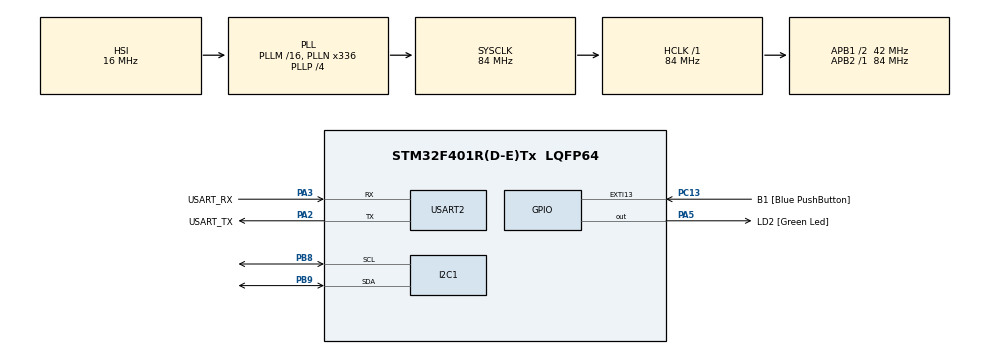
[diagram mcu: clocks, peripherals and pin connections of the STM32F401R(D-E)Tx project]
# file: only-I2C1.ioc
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Mcu.Family=STM32F4
Mcu.Name=STM32F401R(D-E)Tx
Mcu.Package=LQFP64
NVIC.PriorityGroup=NVIC_PRIORITYGROUP_0
PA13.GPIO_Label=TMS
PA13.Mode=Serial_Wire
PA13.Signal=SYS_JTMS-SWDIO
PA14.GPIO_Label=TCK
PA14.Mode=Serial_Wire
PA14.Signal=SYS_JTCK-SWCLK
PA2.GPIO_Label=USART_TX
PA2.GPIO_Mode=GPIO_MODE_AF_PP
PA2.GPIO_PuPd=GPIO_NOPULL
PA2.GPIO_Speed=GPIO_SPEED_FREQ_LOW
PA2.Mode=Asynchronous
PA2.Signal=USART2_TX
PA3.GPIO_Label=USART_RX
PA3.GPIO_Mode=GPIO_MODE_AF_PP
PA3.GPIO_PuPd=GPIO_NOPULL
PA3.GPIO_Speed=GPIO_SPEED_FREQ_LOW
PA3.Mode=Asynchronous
PA3.Signal=USART2_RX
PA5.GPIO_Label=LD2 [Green Led]
PA5.GPIO_Mode=GPIO_MODE_OUTPUT_PP
PA5.GPIO_PuPd=GPIO_NOPULL
PA5.GPIO_Speed=GPIO_SPEED_FREQ_LOW
PA5.Signal=GPIO_Output
PB3.GPIO_Label=SWO
PB3.Signal=SYS_JTDO-SWO
PB8.Mode=I2C
PB8.Signal=I2C1_SCL
PB9.Mode=I2C
PB9.Signal=I2C1_SDA
PC13-ANTI_TAMP.GPIO_Label=B1 [Blue PushButton]
PC13-ANTI_TAMP.GPIO_ModeDefaultEXTI=GPIO_MODE_IT_FALLING
PC13-ANTI_TAMP.GPIO_PuPd=GPIO_NOPULL
PC13-ANTI_TAMP.Signal=GPXTI13
PC14-OSC32_IN.Mode=LSE-External-Oscillator
PC14-OSC32_IN.Signal=RCC_OSC32_IN
PC15-OSC32_OUT.Mode=LSE-External-Oscillator
PC15-OSC32_OUT.Signal=RCC_OSC32_OUT
PH0\ -\ OSC_IN.Mode=HSE-External-Clock-Source
PH0\ -\ OSC_IN.Signal=RCC_OSC_IN
PH1\ -\ OSC_OUT.Mode=HSE-External-Clock-Source
PH1\ -\ OSC_OUT.Signal=RCC_OSC_OUT
ProjectManager.HeapSize=0x200
ProjectManager.StackSize=0x400
ProjectManager.TargetToolchain=STM32CubeIDE
RCC.48MHZClocksFreq_Value=48000000
RCC.AHBFreq_Value=84000000
RCC.APB1CLKDivider=RCC_HCLK_DIV2
RCC.APB1Freq_Value=42000000
RCC.APB1TimFreq_Value=84000000
RCC.APB2Freq_Value=84000000
RCC.APB2TimFreq_Value=84000000
RCC.CortexFreq_Value=84000000
RCC.HCLKFreq_Value=84000000
RCC.HSE_VALUE=8000000
RCC.HSI_VALUE=16000000
RCC.PLLN=336
RCC.PLLP=RCC_PLLP_DIV4
RCC.PLLQ=7
RCC.SYSCLKFreq_VALUE=84000000
RCC.SYSCLKSource=RCC_SYSCLKSOURCE_PLLCLK
RCC.VCOOutputFreq_Value=336000000
USART2.VirtualMode=VM_ASYNC
board=NUCLEO-F401RE

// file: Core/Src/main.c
/* USER CODE BEGIN Header */
/**
  ******************************************************************************
  * @file           : main.c
  * @brief          : Main program body
  ******************************************************************************
  * @attention
  *
  * Copyright (c) 2024 STMicroelectronics.
  * All rights reserved.
  *
  * This software is licensed under terms that can be found in the LICENSE file
  * in the root directory of this software component.
  * If no LICENSE file comes with this software, it is provided AS-IS.
  *
  ******************************************************************************
  */
/* USER CODE END Header */
#include "main.h"

/* USER CODE BEGIN PD */
#define MPU6050_ADDR1 (0x68 << 1)
#define MPU6050_ADDR2 (0x69 << 1)

#define FS_GYRO_250 0
#define FS_GYRO_500 8

#define FS_ACC_2G 0
#define FS_ACC_4G 8

// Other registers
#define REG_CONFIG_GYRO 27
#define REG_CONFIG_ACC 28
#define REG_USR_CTRL 107 // 0x6B is PWR_MGMT_1 register
#define REG_DATA 59

// ACCEL registers
#define ACCEL_XOUT_H 0x3B
#define ACCEL_XOUT_L 0x3C

#define ACCEL_YOUT_H 0x3D
#define ACCEL_YOUT_L 0x3E

#define ACCEL_ZOUT_H 0x3F
#define ACCEL_ZOUT_L 0x40
/* USER CODE END PD */

I2C_HandleTypeDef hi2c1;

UART_HandleTypeDef huart2;

void SystemClock_Config(void);
static void MX_GPIO_Init(void);
static void MX_USART2_UART_Init(void);
static void MX_I2C1_Init(void);

/* USER CODE BEGIN 0 */

// Global variables for STM32cubeMonitor
HAL_StatusTypeDef ret;
uint8_t ret_ready = 10;
uint8_t ret_accel = 20;
uint8_t ret_exit_sleep = 20;

uint8_t alarm_status1 = 0;
uint8_t alarm_status2 = 0;

int16_t AccelX1, AccelY1, AccelZ1;
float AccelX1_g, AccelY1_g, AccelZ1_g;
int16_t AccelX2, AccelY2, AccelZ2;
float AccelX2_g, AccelY2_g, AccelZ2_g;

// Define the structure globally or before you use it
struct CalibrationData {
    float AccelX;
    float AccelY;
    float AccelZ;
};

// Initialize MPU
void MPU6050_Init(MPU6050_ADDR) {
  ret = HAL_I2C_IsDeviceReady(&hi2c1, MPU6050_ADDR, 1, 100);

  if (ret == HAL_OK) {
    ret_ready = 10;
  } else if (ret == HAL_ERROR) {
    ret_ready = 11;
    I2C_Bus_Recovery();
  } else if (ret == HAL_BUSY) {
    ret_ready = 12;
    I2C_Bus_Recovery();
  } else {
    ret_ready = 13;
    I2C_Bus_Recovery();
  }

  uint8_t temp_data = FS_ACC_4G;
  ret = HAL_I2C_Mem_Write(&hi2c1, MPU6050_ADDR, REG_CONFIG_ACC, 1, &temp_data, 1, HAL_MAX_DELAY);

  if (ret == HAL_OK) {
    ret_accel = 20;
  } else if (ret == HAL_ERROR) {
    ret_accel = 21;
    I2C_Bus_Recovery();
  } else if (ret == HAL_BUSY) {
    ret_accel = 22;
    I2C_Bus_Recovery();
  } else {
    ret_accel = 23;
    I2C_Bus_Recovery();
  }

  // Exit sleep by writing 0x00 to PWR_MGMT_1 register 0x6B
  uint8_t data = 0;
  ret = HAL_I2C_Mem_Write(&hi2c1, MPU6050_ADDR, REG_USR_CTRL, 1, &data, 1, HAL_MAX_DELAY);

  if (ret == HAL_OK) {
    ret_exit_sleep = 30;
  } else if (ret == HAL_ERROR) {
    ret_exit_sleep = 31;
  } else if (ret == HAL_BUSY) {
    ret_exit_sleep = 32;
  } else {
    ret_exit_sleep = 33;
  }
}

// Resolve HAL_BUSY error
void I2C_Bus_Recovery() {
  GPIO_InitTypeDef GPIO_InitStruct = {0};

  // Reconfigure SCL and SDA as GPIO
  __HAL_RCC_GPIOB_CLK_ENABLE(); // Enable GPIO clock (adjust based on your pin)
  GPIO_InitStruct.Pin = GPIO_PIN_8 | GPIO_PIN_9; // Replace with your I2C pins
  GPIO_InitStruct.Mode = GPIO_MODE_OUTPUT_PP;
  GPIO_InitStruct.Pull = GPIO_NOPULL;
  GPIO_InitStruct.Speed = GPIO_SPEED_FREQ_HIGH;
  HAL_GPIO_Init(GPIOB, &GPIO_InitStruct);

  // Manually clock SCL line
  for (int i = 0; i < 21; i++) {
    HAL_GPIO_WritePin(GPIOB, GPIO_PIN_8, GPIO_PIN_SET); // SCL High
    HAL_Delay(20); // Short delay
    HAL_GPIO_WritePin(GPIOB, GPIO_PIN_8, GPIO_PIN_RESET); // SCL Low
    HAL_Delay(20);
  }

  // Reinitialize I2C
  HAL_I2C_DeInit(&hi2c1);
  HAL_I2C_Init(&hi2c1);
}

void MPU6050_Read_Accel(uint8_t MPU6050_ADDR, int16_t *AccelX, int16_t *AccelY, int16_t *AccelZ) {
  uint8_t buffer[6]; // Buffer to store the raw data (6 bytes for X, Y, Z)

  // Read 6 bytes starting from ACCEL_XOUT_H (0x3B)
  if (HAL_I2C_Mem_Read(&hi2c1, MPU6050_ADDR, ACCEL_XOUT_H, I2C_MEMADD_SIZE_8BIT, buffer, 6, HAL_MAX_DELAY) == HAL_OK) {
    // Combine high and low bytes for each axis
    *AccelX = (int16_t)(buffer[0] << 8 | buffer[1]); // X-axis
    *AccelY = (int16_t)(buffer[2] << 8 | buffer[3]); // Y-axis
    *AccelZ = (int16_t)(buffer[4] << 8 | buffer[5]); // Z-axis
  } else {
    // If reading fails, set default values or handle error
    I2C_Bus_Recovery();
    *AccelX = 0;
    *AccelY = 0;
    *AccelZ = 0;

  }
}

float MPU6050_Convert_to_g(int16_t raw_value) {
  return (float)raw_value / 16384.0;  // Assuming default ±2g sensitivity
}

struct CalibrationData MPU6050_Calibration(uint16_t dev_addr) {
  float AccelX_g = 0, AccelY_g = 0, AccelZ_g = 0;
  float AccelX_g_sum = 0, AccelY_g_sum = 0, AccelZ_g_sum = 0;
  int cnt = 0; // cnt should be an integer

  int16_t AccelX = 0, AccelY = 0, AccelZ = 0;

  // Read data 1024 times for calibration
  while (cnt < 1024) {
    // Read raw accelerometer data from the MPU6050 sensor
    MPU6050_Read_Accel(dev_addr, &AccelX, &AccelY, &AccelZ);

    // Convert the raw accelerometer data to 'g' units
    AccelX_g = MPU6050_Convert_to_g(AccelX);
    AccelY_g = MPU6050_Convert_to_g(AccelY);
    AccelZ_g = MPU6050_Convert_to_g(AccelZ);

    // Sum the 'g' values for averaging
    AccelX_g_sum += AccelX_g;
    AccelY_g_sum += AccelY_g;
    AccelZ_g_sum += AccelZ_g;

    cnt++; // increment the counter
  }

  // Average the sums
  AccelX_g_sum /= 1024;
  AccelY_g_sum /= 1024;
  AccelZ_g_sum /= 1024;

  // Create and return the CalibrationData structure
  struct CalibrationData data = {AccelX_g_sum, AccelY_g_sum, AccelZ_g_sum};
  return data; // Return the structure
}

void transmitEarthquake(int8_t n){
  int8_t earthquake[] = {n, };
  HAL_UART_Transmit(&huart2, earthquake, sizeof(earthquake), HAL_MAX_DELAY);
  if (n <= 3) {
    alarm_status1 = n; // Only for debug purposes
  } else {
    alarm_status2 = n; // Only for debug purposes
  }
}
// Test 2: Send "hello world" to master
void test2(UART_HandleTypeDef *uart_handle){
    int8_t hello[12] = "Hello World\n";
    HAL_UART_Transmit(uart_handle, hello, sizeof(hello), HAL_MAX_DELAY);
}

// Test 3: Detect accelerometer data
void test3(uint16_t dev_addr, UART_HandleTypeDef *uart_handle){
    int16_t AccelX, AccelY, AccelZ;
    MPU6050_Read_Accel(dev_addr, &AccelX, &AccelY, &AccelZ);
    int8_t working[1];
    if(AccelX == 0 && AccelY == 0 && AccelZ == 0){
        working[0] = 0;
    } else {
        working[0] = 1;
    }
    HAL_UART_Transmit(uart_handle, working, sizeof(working), HAL_MAX_DELAY);
}

/* USER CODE END 0 */

int main(void)
{

  /* MCU Configuration--------------------------------------------------------*/

  /* Reset of all peripherals, Initializes the Flash interface and the Systick. */
  HAL_Init();

  /* Configure the system clock */
  SystemClock_Config();

  /* Initialize all configured peripherals */
  MX_GPIO_Init();
  MX_USART2_UART_Init();
  MX_I2C1_Init();
  /* USER CODE BEGIN 2 */
  MPU6050_Init(MPU6050_ADDR1);
  MPU6050_Init(MPU6050_ADDR2);

  // Declare variables to store the calibrated values
  struct CalibrationData calibration1;
  struct CalibrationData calibration2;

  // Call the MPU6050_Calibration function and store the returned structure in the 'calibration' variable
  calibration1 = MPU6050_Calibration(MPU6050_ADDR1);
  calibration2 = MPU6050_Calibration(MPU6050_ADDR2);

  // Access the calibration data
  float AccelX1_cal = calibration1.AccelX;
  float AccelY1_cal = calibration1.AccelY;
  float AccelZ1_cal = calibration1.AccelZ;

  float AccelX2_cal = calibration2.AccelX;
  float AccelY2_cal = calibration2.AccelY;
  float AccelZ2_cal = calibration2.AccelZ;

  float AccelMagSqr1_g;
  float AccelMagSqr2_g;

  /* USER CODE END 2 */

  /* Infinite loop */
  while (1)
  {

    /* USER CODE BEGIN 3 */
    MPU6050_Read_Accel(MPU6050_ADDR1, &AccelX1, &AccelY1, &AccelZ1);
    MPU6050_Read_Accel(MPU6050_ADDR2, &AccelX2, &AccelY2, &AccelZ2);

    AccelX1_g = MPU6050_Convert_to_g(AccelX1);
    AccelY1_g = MPU6050_Convert_to_g(AccelY1);
    AccelZ1_g = MPU6050_Convert_to_g(AccelZ1);
    AccelX2_g = MPU6050_Convert_to_g(AccelX2);
    AccelY2_g = MPU6050_Convert_to_g(AccelY2);
    AccelZ2_g = MPU6050_Convert_to_g(AccelZ2);

    AccelX1_g -= AccelX1_cal;
    AccelY1_g -= AccelY1_cal;
    AccelZ1_g -= AccelZ1_cal;
    AccelX2_g -= AccelX2_cal;
    AccelY2_g -= AccelY2_cal;
    AccelZ2_g -= AccelZ2_cal;

    AccelMagSqr1_g = AccelX1_g*AccelX1_g+AccelY1_g*AccelY1_g+AccelZ1_g*AccelZ1_g;
    if(AccelMagSqr1_g>0.2*0.2){
        transmitEarthquake(3);
    } else if(AccelMagSqr1_g>0.1*0.1){
        transmitEarthquake(2);
    } else if(AccelMagSqr1_g>0.02*0.02){
        transmitEarthquake(1);
    } else {
        transmitEarthquake(0);
    }

    AccelMagSqr2_g = AccelX2_g*AccelX2_g+AccelY2_g*AccelY2_g+AccelZ2_g*AccelZ2_g;
    if(AccelMagSqr2_g>0.2*0.2){
        transmitEarthquake(6);
    } else if(AccelMagSqr2_g>0.1*0.1){
        transmitEarthquake(5);
    } else if(AccelMagSqr2_g>0.02*0.02){
        transmitEarthquake(4);
    } else {
        transmitEarthquake(0);
    }

    // n is the severity of earthquake
    // n = 0: no earthquake
    // for mpu1
    // n = 1: >0.02g, <=0.1g
    // n = 2: >0.1g, <=0.2g
    // n = 3: >0.2g
    // for mpu2
    // n = 4: >0.02g, <=0.1g
    // n = 5: >0.1g, <=0.2g
    // n = 6: >0.2g

    // LED BLINKING
    HAL_GPIO_TogglePin (GPIOA, GPIO_PIN_5);
  }

  /* USER CODE END 3 */
}

void SystemClock_Config(void)
{
  RCC_OscInitTypeDef RCC_OscInitStruct = {0};
  RCC_ClkInitTypeDef RCC_ClkInitStruct = {0};

  /** Configure the main internal regulator output voltage
  */
  __HAL_RCC_PWR_CLK_ENABLE();
  __HAL_PWR_VOLTAGESCALING_CONFIG(PWR_REGULATOR_VOLTAGE_SCALE2);

  /** Initializes the RCC Oscillators according to the specified parameters
  * in the RCC_OscInitTypeDef structure.
  */
  RCC_OscInitStruct.OscillatorType = RCC_OSCILLATORTYPE_HSI;
  RCC_OscInitStruct.HSIState = RCC_HSI_ON;
  RCC_OscInitStruct.HSICalibrationValue = RCC_HSICALIBRATION_DEFAULT;
  RCC_OscInitStruct.PLL.PLLState = RCC_PLL_ON;
  RCC_OscInitStruct.PLL.PLLSource = RCC_PLLSOURCE_HSI;
  RCC_OscInitStruct.PLL.PLLM = 16;
  RCC_OscInitStruct.PLL.PLLN = 336;
  RCC_OscInitStruct.PLL.PLLP = RCC_PLLP_DIV4;
  RCC_OscInitStruct.PLL.PLLQ = 7;
  if (HAL_RCC_OscConfig(&RCC_OscInitStruct) != HAL_OK)
  {
    Error_Handler();
  }

  /** Initializes the CPU, AHB and APB buses clocks
  */
  RCC_ClkInitStruct.ClockType = RCC_CLOCKTYPE_HCLK|RCC_CLOCKTYPE_SYSCLK
                              |RCC_CLOCKTYPE_PCLK1|RCC_CLOCKTYPE_PCLK2;
  RCC_ClkInitStruct.SYSCLKSource = RCC_SYSCLKSOURCE_PLLCLK;
  RCC_ClkInitStruct.AHBCLKDivider = RCC_SYSCLK_DIV1;
  RCC_ClkInitStruct.APB1CLKDivider = RCC_HCLK_DIV2;
  RCC_ClkInitStruct.APB2CLKDivider = RCC_HCLK_DIV1;

  if (HAL_RCC_ClockConfig(&RCC_ClkInitStruct, FLASH_LATENCY_2) != HAL_OK)
  {
    Error_Handler();
  }
}

static void MX_I2C1_Init(void)
{

  hi2c1.Instance = I2C1;
  hi2c1.Init.ClockSpeed = 100000;
  hi2c1.Init.DutyCycle = I2C_DUTYCYCLE_2;
  hi2c1.Init.OwnAddress1 = 0;
  hi2c1.Init.AddressingMode = I2C_ADDRESSINGMODE_7BIT;
  hi2c1.Init.DualAddressMode = I2C_DUALADDRESS_DISABLE;
  hi2c1.Init.OwnAddress2 = 0;
  hi2c1.Init.GeneralCallMode = I2C_GENERALCALL_DISABLE;
  hi2c1.Init.NoStretchMode = I2C_NOSTRETCH_DISABLE;
  if (HAL_I2C_Init(&hi2c1) != HAL_OK)
  {
    Error_Handler();
  }

}

static void MX_USART2_UART_Init(void)
{

  huart2.Instance = USART2;
  huart2.Init.BaudRate = 115200;
  huart2.Init.WordLength = UART_WORDLENGTH_8B;
  huart2.Init.StopBits = UART_STOPBITS_1;
  huart2.Init.Parity = UART_PARITY_NONE;
  huart2.Init.Mode = UART_MODE_TX_RX;
  huart2.Init.HwFlowCtl = UART_HWCONTROL_NONE;
  huart2.Init.OverSampling = UART_OVERSAMPLING_16;
  if (HAL_UART_Init(&huart2) != HAL_OK)
  {
    Error_Handler();
  }

}

static void MX_GPIO_Init(void)
{
  GPIO_InitTypeDef GPIO_InitStruct = {0};

  /* GPIO Ports Clock Enable */
  __HAL_RCC_GPIOC_CLK_ENABLE();
  __HAL_RCC_GPIOH_CLK_ENABLE();
  __HAL_RCC_GPIOA_CLK_ENABLE();
  __HAL_RCC_GPIOB_CLK_ENABLE();

  /*Configure GPIO pin Output Level */
  HAL_GPIO_WritePin(LD2_GPIO_Port, LD2_Pin, GPIO_PIN_RESET);

  /*Configure GPIO pin : B1_Pin */
  GPIO_InitStruct.Pin = B1_Pin;
  GPIO_InitStruct.Mode = GPIO_MODE_IT_FALLING;
  GPIO_InitStruct.Pull = GPIO_NOPULL;
  HAL_GPIO_Init(B1_GPIO_Port, &GPIO_InitStruct);

  /*Configure GPIO pin : LD2_Pin */
  GPIO_InitStruct.Pin = LD2_Pin;
  GPIO_InitStruct.Mode = GPIO_MODE_OUTPUT_PP;
  GPIO_InitStruct.Pull = GPIO_NOPULL;
  GPIO_InitStruct.Speed = GPIO_SPEED_FREQ_LOW;
  HAL_GPIO_Init(LD2_GPIO_Port, &GPIO_InitStruct);

}

void Error_Handler(void)
{
  __disable_irq();
  while (1)
  {
  }
}
